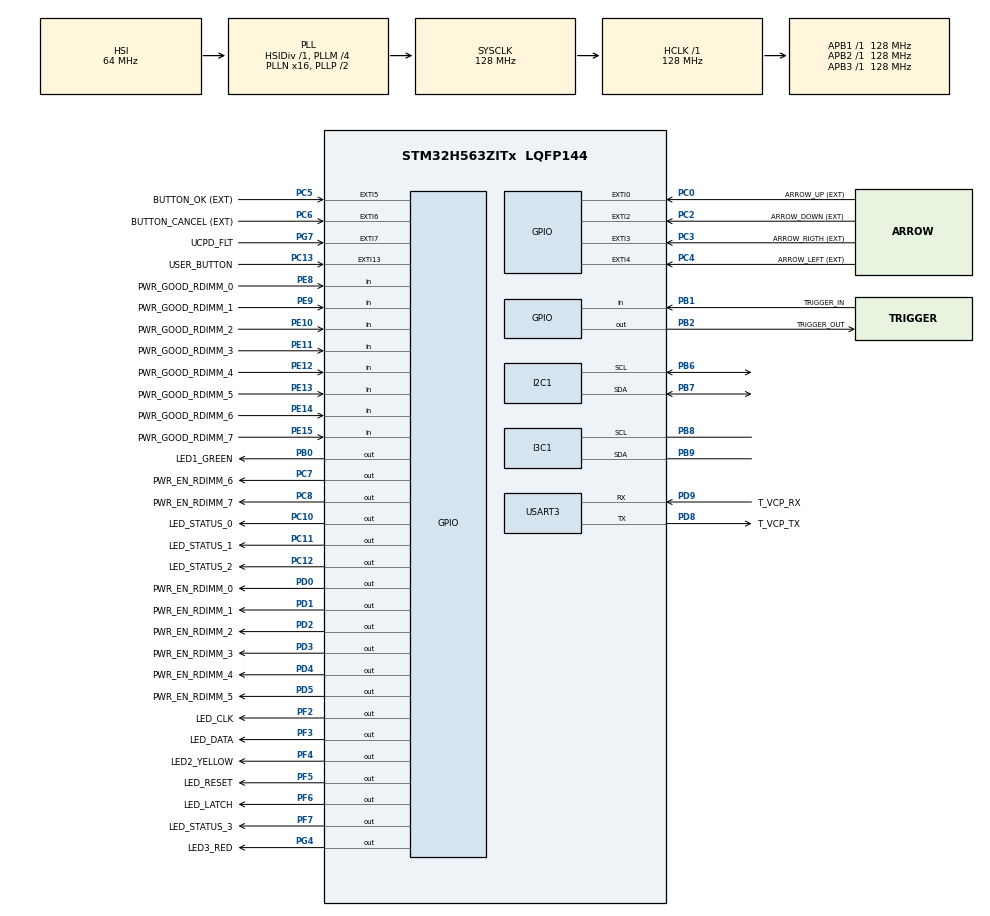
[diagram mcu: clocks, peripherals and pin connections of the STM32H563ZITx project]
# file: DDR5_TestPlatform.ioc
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CORTEX_M33_NS.userName=CORTEX_M33
I2C1.Timing=0x10707DBC
I3C1.BusFreeDuration=1669
I3C1.BusUsage=MixedUsage
I3C1.DutyCycleI2C=50
I3C1.DutyCycleI3C=2
I3C1.FrequencyI2C=400
I3C1.FrequencyI3C=1000
I3C1.HighKeeperSDA=ENABLE
I3C1.Register0=0x5f67024c
I3C1.Register1=0x0042004e
I3C1.SCLI2CHighDuration=0x5f
I3C1.SCLI3CHighDuration=0x02
I3C1.SCLODLowDuration=0x67
I3C1.SCLPPLowDuration=0x4c
I3C1.SDAHoldTime=HAL_I3C_SDA_HOLD_TIME_0_5
I3C1.hexBusFreeDuration=0x42
I3C1.hexBusIdleDuration=0x4e
Mcu.Family=STM32H5
Mcu.Name=STM32H563ZITx
Mcu.Package=LQFP144
NVIC.PriorityGroup=NVIC_PRIORITYGROUP_4
PA11.GPIO_Label=USB_FS_N
PA11.Signal=USB_DM
PA12.GPIO_Label=USB_FS_P
PA12.Signal=USB_DP
PA13(JTMS/SWDIO).GPIO_Label=SWDIO
PA13(JTMS/SWDIO).Mode=Trace_Synchro_4bits_JTAG
PA13(JTMS/SWDIO).Signal=DEBUG_JTMS-SWDIO
PA14(JTCK/SWCLK).GPIO_Label=SWCLK
PA14(JTCK/SWCLK).Mode=Trace_Synchro_4bits_JTAG
PA14(JTCK/SWCLK).Signal=DEBUG_JTCK-SWCLK
PA15(JTDI).GPIO_Label=T_JTDI
PA15(JTDI).Mode=Trace_Synchro_4bits_JTAG
PA15(JTDI).Signal=DEBUG_JTDI
PA4.GPIO_Label=VBUS_SENSE
PA4.Signal=ADCx_INP18
PA9.GPIO_Label=UCPD_DBn
PA9.Signal=UCPD1_DB1
PB0.GPIO_Label=LED1_GREEN
PB0.Signal=GPIO_Output
PB1.GPIO_Label=TRIGGER_IN
PB1.Signal=GPIO_Input
PB13.GPIO_Label=UCPD_CC1
PB13.Signal=UCPD1_CC1
PB14.GPIO_Label=UCPD_CC2
PB14.Signal=UCPD1_CC2
PB2.GPIO_Label=TRIGGER_OUT
PB2.Signal=GPIO_Output
PB3(JTDO/TRACESWO).GPIO_Label=SWO
PB3(JTDO/TRACESWO).Mode=Trace_Synchro_4bits_JTAG
PB3(JTDO/TRACESWO).Signal=DEBUG_JTDO-SWO
PB6.Mode=I2C
PB6.Signal=I2C1_SCL
PB7.Mode=I2C
PB7.Signal=I2C1_SDA
PB8.Mode=Controller
PB8.Signal=I3C1_SCL
PB9.Mode=Controller
PB9.Signal=I3C1_SDA
PC0.GPIO_Label=ARROW_UP (EXT)
PC0.Signal=GPXTI0
PC10.GPIO_Label=LED_STATUS_0
PC10.Signal=GPIO_Output
PC11.GPIO_Label=LED_STATUS_1
PC11.Signal=GPIO_Output
PC12.GPIO_Label=LED_STATUS_2
PC12.Signal=GPIO_Output
PC13.GPIO_Label=USER_BUTTON
PC13.Signal=GPXTI13
PC14-OSC32_IN(OSC32_IN).Mode=LSE-External-Oscillator
PC14-OSC32_IN(OSC32_IN).Signal=RCC_OSC32_IN
PC15-OSC32_OUT(OSC32_OUT).Mode=LSE-External-Oscillator
PC15-OSC32_OUT(OSC32_OUT).Signal=RCC_OSC32_OUT
PC2.GPIO_Label=ARROW_DOWN (EXT)
PC2.Signal=GPXTI2
PC3.GPIO_Label=ARROW_RIGTH (EXT)
PC3.Signal=GPXTI3
PC4.GPIO_Label=ARROW_LEFT (EXT)
PC4.Signal=GPXTI4
PC5.GPIO_Label=BUTTON_OK (EXT)
PC5.Signal=GPXTI5
PC6.GPIO_Label=BUTTON_CANCEL (EXT)
PC6.Signal=GPXTI6
PC7.GPIO_Label=PWR_EN_RDIMM_6
PC7.Signal=GPIO_Output
PC8.GPIO_Label=PWR_EN_RDIMM_7
PC8.Signal=GPIO_Output
PD0.GPIO_Label=PWR_EN_RDIMM_0
PD0.Signal=GPIO_Output
PD1.GPIO_Label=PWR_EN_RDIMM_1
PD1.Signal=GPIO_Output
PD2.GPIO_Label=PWR_EN_RDIMM_2
PD2.Signal=GPIO_Output
PD3.GPIO_Label=PWR_EN_RDIMM_3
PD3.Signal=GPIO_Output
PD4.GPIO_Label=PWR_EN_RDIMM_4
PD4.Signal=GPIO_Output
PD5.GPIO_Label=PWR_EN_RDIMM_5
PD5.Signal=GPIO_Output
PD8.GPIO_Label=T_VCP_TX
PD8.Mode=Asynchronous
PD8.Signal=USART3_TX
PD9.GPIO_Label=T_VCP_RX
PD9.Mode=Asynchronous
PD9.Signal=USART3_RX
PE10.GPIO_Label=PWR_GOOD_RDIMM_2
PE10.Signal=GPIO_Input
PE11.GPIO_Label=PWR_GOOD_RDIMM_3
PE11.Signal=GPIO_Input
PE12.GPIO_Label=PWR_GOOD_RDIMM_4
PE12.Signal=GPIO_Input
PE13.GPIO_Label=PWR_GOOD_RDIMM_5
PE13.Signal=GPIO_Input
PE14.GPIO_Label=PWR_GOOD_RDIMM_6
PE14.Signal=GPIO_Input
PE15.GPIO_Label=PWR_GOOD_RDIMM_7
PE15.Signal=GPIO_Input
PE2.GPIO_Label=TRACE_CK
PE2.Mode=Trace_Synchro_4bits_JTAG
PE2.Signal=DEBUG_TRACECLK
PE3.GPIO_Label=TRACE_D0
PE3.Mode=Trace_Synchro_4bits_JTAG
PE3.Signal=DEBUG_TRACED0
PE4.GPIO_Label=TRACE_D1
PE4.Mode=Trace_Synchro_4bits_JTAG
PE4.Signal=DEBUG_TRACED1
PE5.GPIO_Label=TRACE_D2
PE5.Mode=Trace_Synchro_4bits_JTAG
PE5.Signal=DEBUG_TRACED2
PE6.GPIO_Label=TRACE_D3
PE6.Mode=Trace_Synchro_4bits_JTAG
PE6.Signal=DEBUG_TRACED3
PE8.GPIO_Label=PWR_GOOD_RDIMM_0
PE8.Signal=GPIO_Input
PE9.GPIO_Label=PWR_GOOD_RDIMM_1
PE9.Signal=GPIO_Input
PF2.GPIO_Label=LED_CLK
PF2.Signal=GPIO_Output
PF3.GPIO_Label=LED_DATA
PF3.Signal=GPIO_Output
PF4.GPIO_Label=LED2_YELLOW
PF4.Signal=GPIO_Output
PF5.GPIO_Label=LED_RESET
PF5.Signal=GPIO_Output
PF6.GPIO_Label=LED_LATCH
PF6.Signal=GPIO_Output
PF7.GPIO_Label=LED_STATUS_3
PF7.Signal=GPIO_Output
PG4.GPIO_Label=LED3_RED
PG4.Signal=GPIO_Output
PG7.GPIO_Label=UCPD_FLT
PG7.Signal=GPXTI7
PH0-OSC_IN(PH0).Mode=HSE-DIG-External-Clock-Source
PH0-OSC_IN(PH0).Signal=RCC_OSC_IN
ProjectManager.HeapSize=0x200
ProjectManager.StackSize=0x400
ProjectManager.TargetToolchain=STM32CubeIDE
RCC.ADCFreq_Value=128000000
RCC.AHBFreq_Value=128000000
RCC.APB1Freq_Value=128000000
RCC.APB1TimFreq_Value=128000000
RCC.APB2Freq_Value=128000000
RCC.APB2TimFreq_Value=128000000
RCC.APB3Freq_Value=128000000
RCC.CSI_VALUE=4000000
RCC.CortexFreq_Value=128000000
RCC.EPOD_VALUE=64000000
RCC.HCLKFreq_Value=128000000
RCC.HSE_VALUE=8000000
RCC.HSI48_VALUE=48000000
RCC.HSIDiv=RCC_HSI_DIV1
RCC.HSI_VALUE=64000000
RCC.I2C1CLockSelection=RCC_I2C1CLKSOURCE_HSI
RCC.I3C1CLockSelection=RCC_I3C1CLKSOURCE_PLL3R
RCC.LSIRC_VALUE=32000
RCC.PLL3M=4
RCC.PLL3N=10
RCC.PLL3Source=RCC_PLL3_SOURCE_HSI
RCC.PLLM=4
RCC.PLLN=16
RCC.PLLSourceVirtual=RCC_PLL1_SOURCE_HSI
RCC.SYSCLKFreq_VALUE=128000000
RCC.SYSCLKSource=RCC_SYSCLKSOURCE_PLLCLK
RCC.USART3CLockSelection=RCC_USART3CLKSOURCE_HSI
RCC.USBFreq_Value=48000000
RCC.VCOOutputFreq_Value=256000000
SH.ADCx_INP18.0=ADC1_INP18
USART3.OverSampling=UART_OVERSAMPLING_8
USART3.RxPinLevelInvertParam=ADVFEATURE_RXINV_ENABLE
USART3.VirtualMode=VM_ASYNC
VP_ICACHE_VS_ICACHE.Mode=DefaultMode
VP_MEMORYMAP_VS_MEMORYMAP.Mode=CurAppReg
VP_PWR_VS_SECSignals.Mode=Security/Privilege
board=NUCLEO-H563ZI

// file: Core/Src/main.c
/* USER CODE BEGIN Header */
/**
  ******************************************************************************
  * @file           : main.c
  * @brief          : Main program body
  ******************************************************************************
  * @attention
  *
  * Copyright (c) 2026 STMicroelectronics.
  * All rights reserved.
  *
  * This software is licensed under terms that can be found in the LICENSE file
  * in the root directory of this software component.
  * If no LICENSE file comes with this software, it is provided AS-IS.
  *
  ******************************************************************************
  */
/* USER CODE END Header */
#include "main.h"

I2C_HandleTypeDef hi2c1;

I3C_HandleTypeDef hi3c1;

UART_HandleTypeDef huart3;

void SystemClock_Config(void);
static void MX_GPIO_Init(void);
static void MX_I2C1_Init(void);
static void MX_I3C1_Init(void);
static void MX_ICACHE_Init(void);
static void MX_USART3_UART_Init(void);
static void MX_MEMORYMAP_Init(void);
/* USER CODE BEGIN PFP */
static void I3C_DBG(uint32_t tag);
#define I3C_DBG_MAX 160

typedef struct
{
    uint32_t tag;
    uint32_t EVR;
    uint32_t SER;
    uint32_t SR;
    uint32_t CFGR;
    uint32_t CR;
    uint32_t RDR;
} I3C_DebugSnap;

volatile I3C_DebugSnap i3c_dbg[I3C_DBG_MAX];
volatile uint32_t i3c_dbg_i = 0;

void I3C_SETAASA(void)
{
	I3C_XferTypeDef I3C_Context;
	  uint32_t I3C_ControlBuffer[1];
	  uint8_t dummyTx[1];

	  I3C_CCCTypeDef SETAASA_Desc = {
	    0x00,
	    0x29,
	    {NULL, 0},
	    LL_I3C_DIRECTION_WRITE
	  };

	  I3C_Context.CtrlBuf.pBuffer = I3C_ControlBuffer;
	  I3C_Context.CtrlBuf.Size = 1;
	  I3C_Context.TxBuf.pBuffer = dummyTx;
	  I3C_Context.TxBuf.Size = 0;
	  I3C_Context.RxBuf.pBuffer = NULL;
	  I3C_Context.RxBuf.Size = 0;

	  if ( HAL_I3C_AddDescToFrame(&hi3c1,
	                         &SETAASA_Desc,
	                         NULL,
	                         &I3C_Context,
	                         1,
							 I3C_BROADCAST_WITHOUT_DEFBYTE_STOP)!= HAL_OK)
		  Error_Handler();

	  if ( HAL_I3C_Ctrl_TransmitCCC(&hi3c1, &I3C_Context, HAL_MAX_DELAY)!= HAL_OK )
	  {
		  volatile uint32_t err = hi3c1.ErrorCode;
		  volatile uint32_t ser = hi3c1.Instance->SER;
		  volatile uint32_t evr = hi3c1.Instance->EVR;
		  Error_Handler();
	  }

}
HAL_StatusTypeDef I3C_LL_SETAASA(void)
{
    uint32_t cr;
    uint32_t timeout;

    /* SETAASA:
       MTYPE = 0110 -> Broadcast CCC write
       CCC   = 0x29
       DCNT  = 0
       MEND  = 1
    */
    cr = (1UL << 31) |      /* MEND = 1 */
         (0x6UL << 27) |    /* MTYPE = 0110 */
         (0x29UL << 8) |    /* CCC = SETAASA */
         (0UL);             /* DCNT = 0 */

    /* Vaciar posible RX pendiente */
    while ((READ_REG(hi3c1.Instance->EVR) & I3C_EVR_RXFNEF) != 0U)
    {
        volatile uint32_t dummy = READ_REG(hi3c1.Instance->RDR);
        (void)dummy;
    }

    while ((READ_REG(hi3c1.Instance->EVR) & I3C_EVR_RXFNEF) != 0U)
    {
        volatile uint32_t d0 = READ_REG(hi3c1.Instance->RDR);
        volatile uint32_t d1 = READ_REG(hi3c1.Instance->RDWR);
        (void)d0;
        (void)d1;
    }

    /* Limpiar flags previos */
    if ((READ_REG(hi3c1.Instance->EVR) & I3C_EVR_ERRF) != 0U)
    {
        LL_I3C_ClearFlag_ERR(hi3c1.Instance);
    }

    if ((READ_REG(hi3c1.Instance->EVR) & I3C_EVR_FCF) != 0U)
    {
        LL_I3C_ClearFlag_FC(hi3c1.Instance);
    }

    /* Lanzar SETAASA */
    WRITE_REG(hi3c1.Instance->CR, cr);

    /* Esperar fin o error */
    timeout = 1000000U;

    while ((READ_REG(hi3c1.Instance->EVR) & I3C_EVR_FCF) == 0U)
    {
        if ((READ_REG(hi3c1.Instance->EVR) & I3C_EVR_ERRF) != 0U)
        {
            volatile uint32_t ser = READ_REG(hi3c1.Instance->SER);
            volatile uint32_t evr = READ_REG(hi3c1.Instance->EVR);
            (void)ser;
            (void)evr;

            LL_I3C_ClearFlag_ERR(hi3c1.Instance);
            return HAL_ERROR;
        }

        if (--timeout == 0U)
        {
            return HAL_TIMEOUT;
        }
    }

    LL_I3C_ClearFlag_FC(hi3c1.Instance);

    return HAL_OK;
}

void I3C_RSTDAA(void)
{
	I3C_XferTypeDef I3C_Context;
	  uint32_t I3C_ControlBuffer[1];
	  uint8_t dummyTx[1];

	  I3C_CCCTypeDef SETAASA_Desc = {
	    0x00,
	    0x06,
	    {NULL, 0},
	    LL_I3C_DIRECTION_WRITE
	  };

	  I3C_Context.CtrlBuf.pBuffer = I3C_ControlBuffer;
	  I3C_Context.CtrlBuf.Size = 1;
	  I3C_Context.TxBuf.pBuffer = dummyTx;
	  I3C_Context.TxBuf.Size = 0;
	  I3C_Context.RxBuf.pBuffer = NULL;
	  I3C_Context.RxBuf.Size = 0;

	  if ( HAL_I3C_AddDescToFrame(&hi3c1,
	                         &SETAASA_Desc,
	                         NULL,
	                         &I3C_Context,
	                         1,
							 I3C_BROADCAST_WITHOUT_DEFBYTE_STOP)!= HAL_OK)
		  Error_Handler();

	  if ( HAL_I3C_Ctrl_TransmitCCC(&hi3c1, &I3C_Context, HAL_MAX_DELAY)!= HAL_OK )
	  {
		  volatile uint32_t err = hi3c1.ErrorCode;
		  volatile uint32_t ser = hi3c1.Instance->SER;
		  volatile uint32_t evr = hi3c1.Instance->EVR;
		  Error_Handler();
	  }

}

HAL_StatusTypeDef I3C_LL_I2C_PrivateReadReg(uint8_t target,
                                            uint8_t reg,
                                            uint8_t *rx,
                                            uint16_t len)
{
    uint32_t cr_write;
    uint32_t cr_read;
    uint32_t timeout = 1000000;

    if ((rx == NULL) || (len == 0))
        return HAL_ERROR;

    /* MTYPE = 0100 -> legacy I2C message */
    cr_write =
        (0x4UL << 27) |              /* MTYPE legacy I2C */
        ((uint32_t)target << 17) |   /* ADD[6:0] */
        (0UL << 16) |                /* RNW = 0 write */
        (1UL);                       /* DCNT = 1 */

    cr_read =
        (1UL << 31) |                /* MEND = 1 */
        (0x4UL << 27) |              /* MTYPE legacy I2C */
        ((uint32_t)target << 17) |   /* ADD[6:0] */
        (1UL << 16) |                /* RNW = 1 read */
        ((uint32_t)len);             /* DCNT = len */

    /* Cargar byte de registro en TX-FIFO */
    WRITE_REG(hi3c1.Instance->TDR, reg);

    /* Primer mensaje: WRITE reg, MEND=0 */
    WRITE_REG(hi3c1.Instance->CR, cr_write);

    /* Esperar a que pida siguiente control word */
    while ((READ_REG(hi3c1.Instance->EVR) & I3C_EVR_CFNFF) == 0U)
    {
        if (--timeout == 0) return HAL_TIMEOUT;
    }

    /* Segundo mensaje: READ len bytes, MEND=1 */
    WRITE_REG(hi3c1.Instance->CR, cr_read);

    for (uint16_t i = 0; i < len; i++)
    {
        timeout = 1000000;
        while ((READ_REG(hi3c1.Instance->EVR) & I3C_EVR_RXFNEF) == 0U)
        {
            if (READ_REG(hi3c1.Instance->EVR) & I3C_EVR_ERRF)
                return HAL_ERROR;

            if (--timeout == 0) return HAL_TIMEOUT;
        }

        rx[i] = (uint8_t)READ_REG(hi3c1.Instance->RDR);
    }

    timeout = 1000000;
    while ((READ_REG(hi3c1.Instance->EVR) & I3C_EVR_FCF) == 0U)
    {
        if (READ_REG(hi3c1.Instance->EVR) & I3C_EVR_ERRF)
            return HAL_ERROR;

        if (--timeout == 0) return HAL_TIMEOUT;
    }

    LL_I3C_ClearFlag_FC(hi3c1.Instance);

    return HAL_OK;
}

HAL_StatusTypeDef I3C_LL_I2C_PrivateWriteReg(uint8_t target,
                                             uint8_t reg,
                                             const uint8_t *tx,
                                             uint16_t len)
{
    uint32_t cr_write;
    uint32_t timeout;

    if ((tx == NULL) && (len > 0))
        return HAL_ERROR;

    /* MTYPE = 0100 -> legacy I2C message
       RNW   = 0    -> write
       DCNT  = 1 + len -> registro + datos
       MEND  = 1    -> último mensaje
    */
    cr_write =
        (1UL << 31) |                 /* MEND = 1 */
        (0x4UL << 27) |               /* MTYPE legacy I2C */
        ((uint32_t)target << 17) |    /* ADD[6:0] */
        (0UL << 16) |                 /* RNW = 0 */
        ((uint32_t)(1U + len));       /* DCNT */

    /* Cargar primero el registro */
    WRITE_REG(hi3c1.Instance->TDR, reg);

    /* Cargar datos */
    for (uint16_t i = 0; i < len; i++)
    {
        WRITE_REG(hi3c1.Instance->TDR, tx[i]);
    }

    /* Lanzar transferencia */
    WRITE_REG(hi3c1.Instance->CR, cr_write);

    /* Esperar fin o error */
    timeout = 1000000;
    while ((READ_REG(hi3c1.Instance->EVR) & I3C_EVR_FCF) == 0U)
    {
        if (READ_REG(hi3c1.Instance->EVR) & I3C_EVR_ERRF)
        {
            LL_I3C_ClearFlag_ERR(hi3c1.Instance);
            return HAL_ERROR;
        }

        if (--timeout == 0U)
            return HAL_TIMEOUT;
    }

    LL_I3C_ClearFlag_FC(hi3c1.Instance);

    return HAL_OK;
}

HAL_StatusTypeDef I3C_LL_PrivateWriteReg(uint8_t target,
                                         uint8_t reg,
                                         const uint8_t *tx,
                                         uint16_t len)
{
    uint32_t cr_write;
    uint32_t timeout;

    if ((tx == NULL) && (len > 0U))
        return HAL_ERROR;

    /* Asegurar private sin 0x7E inicial */
    SET_BIT(hi3c1.Instance->CFGR, I3C_CFGR_NOARBH);

    /* Limpiar flags previos */
    if ((READ_REG(hi3c1.Instance->EVR) & I3C_EVR_ERRF) != 0U) //FLAG ERROR
        LL_I3C_ClearFlag_ERR(hi3c1.Instance);

    if ((READ_REG(hi3c1.Instance->EVR) & I3C_EVR_FCF) != 0U)	//FLAG TRAMA COMPLETADA
        LL_I3C_ClearFlag_FC(hi3c1.Instance);

    /* Vaciar RX pendiente */
    while ((READ_REG(hi3c1.Instance->EVR) & I3C_EVR_RXFNEF) != 0U) // Hay bytes por leer en la R-FIFO
    {
        volatile uint32_t dummy = READ_REG(hi3c1.Instance->RDR); //Leer para descartar todo.
        (void)dummy;
    }

    /*
      WRITE:
      MTYPE = 0010 I3C private
      RNW   = 0 escritura
      DCNT  = 1 + len  -> registro + datos
      MEND  = 1        -> STOP al final
    */
    cr_write =
        (1UL << 31) |                 /* MEND = 1 */
        (0x2UL << 27) |               /* MTYPE = private */
        ((uint32_t)target << 17) |    /* ADD[6:0] */
        (0UL << 16) |                 /* RNW = 0 */
        ((uint32_t)(1U + len));       /* DCNT */

    /* Cargar primero el registro TDR para cargar en la T-FIFO */
    WRITE_REG(hi3c1.Instance->TDR, reg);

    /* Cargar datos para cargar en la T-FIFO */
    for (uint16_t i = 0; i < len; i++)
    {
        WRITE_REG(hi3c1.Instance->TDR, tx[i]);
    }

    /* Lanzar transferencia */
    WRITE_REG(hi3c1.Instance->CR, cr_write);

    /* Esperar fin de frame */
    timeout = 1000000U;
    while ((READ_REG(hi3c1.Instance->EVR) & I3C_EVR_FCF) == 0U)
    {
        if ((READ_REG(hi3c1.Instance->EVR) & I3C_EVR_ERRF) != 0U) //Si hay Error
        {
            volatile uint32_t evr_err = READ_REG(hi3c1.Instance->EVR);
            volatile uint32_t ser_err = READ_REG(hi3c1.Instance->SER);
            volatile uint32_t sr_err  = READ_REG(hi3c1.Instance->SR);
            (void)evr_err;
            (void)ser_err;
            (void)sr_err;

            return HAL_ERROR;
        }

        if (--timeout == 0U)
        {
            return HAL_TIMEOUT;
        }
    }

    LL_I3C_ClearFlag_FC(hi3c1.Instance);

    return HAL_OK;
}

HAL_StatusTypeDef I3C_LL_SPD5_ReadReg(uint8_t target,
                                      uint16_t reg,
                                      uint8_t *rx,
                                      uint16_t len)
{
    uint32_t cr_write;
    uint32_t cr_read;
    uint32_t timeout;

    if ((rx == NULL) || (len == 0U))
        return HAL_ERROR;

    /* Registro interno: MemReg = 0 */
    uint8_t cmd      = 0xA0;  // 1010 HID W, HID=0, W=0
    uint8_t addr_lsb = (uint8_t)(reg & 0x3F);
    uint8_t addr_msb = (uint8_t)((reg >> 6) & 0x0F);

    /* WRITE: CMD + addr_lsb + addr_msb */
    cr_write =
        (0x2UL << 27) |              /* MTYPE = I3C private */
        ((uint32_t)target << 17) |   /* ADD[6:0] */
        (0UL << 16) |                /* RNW = 0 */
        (3UL);                       /* DCNT = 3 */

    /* READ */
    cr_read =
        (1UL << 31) |                /* MEND = 1 */
        (0x2UL << 27) |              /* MTYPE = I3C private */
        ((uint32_t)target << 17) |   /* ADD[6:0] */
        (1UL << 16) |                /* RNW = 1 */
        ((uint32_t)len);             /* DCNT = len */

    /* limpiar flags previos */
    if (READ_REG(hi3c1.Instance->EVR) & I3C_EVR_ERRF)
        LL_I3C_ClearFlag_ERR(hi3c1.Instance);

    if (READ_REG(hi3c1.Instance->EVR) & I3C_EVR_FCF)
        LL_I3C_ClearFlag_FC(hi3c1.Instance);

    while (READ_REG(hi3c1.Instance->EVR) & I3C_EVR_RXFNEF)
    {
        volatile uint32_t dummy = READ_REG(hi3c1.Instance->RDR);
        (void)dummy;
    }

    /* cargar payload de comando */
    WRITE_REG(hi3c1.Instance->TDR, cmd);
    I3C_DBG_Snapshot(); // A: TX cargado

    WRITE_REG(hi3c1.Instance->TDR, addr_lsb);
    WRITE_REG(hi3c1.Instance->TDR, addr_msb);

    /* WRITE + repeated START */
    WRITE_REG(hi3c1.Instance->CR, cr_write);

    timeout = 1000000U;
    while ((READ_REG(hi3c1.Instance->EVR) & I3C_EVR_CFNFF) == 0U)
    {
        if (READ_REG(hi3c1.Instance->EVR) & I3C_EVR_ERRF)
            return HAL_ERROR;

        if (--timeout == 0U)
            return HAL_TIMEOUT;
    }

    /* READ + STOP */
    WRITE_REG(hi3c1.Instance->CR, cr_read);

    for (uint16_t i = 0; i < len; i++)
    {
        timeout = 1000000U;
        while ((READ_REG(hi3c1.Instance->EVR) & I3C_EVR_RXFNEF) == 0U)
        {
            if (READ_REG(hi3c1.Instance->EVR) & I3C_EVR_ERRF)
                return HAL_ERROR;

            if (--timeout == 0U)
                return HAL_TIMEOUT;
        }

        rx[i] = (uint8_t)READ_REG(hi3c1.Instance->RDR);
    }

    timeout = 1000000U;
    while ((READ_REG(hi3c1.Instance->EVR) & I3C_EVR_FCF) == 0U)
    {
        if (READ_REG(hi3c1.Instance->EVR) & I3C_EVR_ERRF)
            return HAL_ERROR;

        if (--timeout == 0U)
            return HAL_TIMEOUT;
    }

    LL_I3C_ClearFlag_FC(hi3c1.Instance);

    return HAL_OK;
}

HAL_StatusTypeDef I3C_LL_PrivateReadReg_Debug(uint8_t target,
                                              uint8_t reg,
                                              uint8_t *rx,
                                              uint16_t len)
{
    uint32_t cr_write;
    uint32_t cr_read;
    uint32_t timeout;

    volatile uint32_t evr_err;
    volatile uint32_t ser_err;
    volatile uint32_t sr_err;

    I3C_DBG(100);   // entrada

    if ((rx == NULL) || (len == 0U))
    {
        I3C_DBG(900);
        return HAL_ERROR;
    }

    SET_BIT(hi3c1.Instance->CFGR, I3C_CFGR_NOARBH);
    I3C_DBG(101);   // NOARBH configurado

    if ((READ_REG(hi3c1.Instance->EVR) & I3C_EVR_ERRF) != 0U)
        LL_I3C_ClearFlag_ERR(hi3c1.Instance);

    if ((READ_REG(hi3c1.Instance->EVR) & I3C_EVR_FCF) != 0U)
        LL_I3C_ClearFlag_FC(hi3c1.Instance);

    while ((READ_REG(hi3c1.Instance->EVR) & I3C_EVR_RXFNEF) != 0U)
    {
        volatile uint32_t dummy = READ_REG(hi3c1.Instance->RDR);
        (void)dummy;
    }

    I3C_DBG(102);

    cr_write =
        (0x2UL << 27) |
        ((uint32_t)target << 17) |
        (0UL << 16) |
        (1UL);

    cr_read =
        (1UL << 31) |
        (0x2UL << 27) |
        ((uint32_t)target << 17) |
        (1UL << 16) |
        ((uint32_t)len);

    I3C_DBG(103);

    WRITE_REG(hi3c1.Instance->TDR, reg);
    I3C_DBG(104);

    WRITE_REG(hi3c1.Instance->CR, cr_write);
    I3C_DBG(105);

    timeout = 1000000U;
    while ((READ_REG(hi3c1.Instance->EVR) & I3C_EVR_CFNFF) == 0U)
    {
        if ((READ_REG(hi3c1.Instance->EVR) & I3C_EVR_ERRF) != 0U)
        {
            I3C_DBG(910);

            evr_err = READ_REG(hi3c1.Instance->EVR);
            ser_err = READ_REG(hi3c1.Instance->SER);
            sr_err  = READ_REG(hi3c1.Instance->SR);
            (void)evr_err; (void)ser_err; (void)sr_err;

            __NOP();
            return HAL_ERROR;
        }

        if (--timeout == 0U)
        {
            I3C_DBG(911);

            evr_err = READ_REG(hi3c1.Instance->EVR);
            ser_err = READ_REG(hi3c1.Instance->SER);
            sr_err  = READ_REG(hi3c1.Instance->SR);
            (void)evr_err; (void)ser_err; (void)sr_err;

            __NOP();
            return HAL_TIMEOUT;
        }
    }

    I3C_DBG(106);

    WRITE_REG(hi3c1.Instance->CR, cr_read);
    I3C_DBG(107);

    for (uint16_t i = 0; i < len; i++)
    {
        timeout = 1000000U;

        while ((READ_REG(hi3c1.Instance->EVR) & I3C_EVR_RXFNEF) == 0U)
        {
            if ((READ_REG(hi3c1.Instance->EVR) & I3C_EVR_ERRF) != 0U)
            {
                I3C_DBG(920);

                evr_err = READ_REG(hi3c1.Instance->EVR);
                ser_err = READ_REG(hi3c1.Instance->SER);
                sr_err  = READ_REG(hi3c1.Instance->SR);
                (void)evr_err; (void)ser_err; (void)sr_err;

                __NOP();
                return HAL_ERROR;
            }

            if (--timeout == 0U)
            {
                I3C_DBG(921);

                evr_err = READ_REG(hi3c1.Instance->EVR);
                ser_err = READ_REG(hi3c1.Instance->SER);
                sr_err  = READ_REG(hi3c1.Instance->SR);
                (void)evr_err; (void)ser_err; (void)sr_err;

                __NOP();
                return HAL_TIMEOUT;
            }
        }

        I3C_DBG(108);

        rx[i] = (uint8_t)READ_REG(hi3c1.Instance->RDR);

        I3C_DBG(109);
    }

    timeout = 1000000U;
    while ((READ_REG(hi3c1.Instance->EVR) & I3C_EVR_FCF) == 0U)
    {
        if ((READ_REG(hi3c1.Instance->EVR) & I3C_EVR_ERRF) != 0U)
        {
            I3C_DBG(930);

            evr_err = READ_REG(hi3c1.Instance->EVR);
            ser_err = READ_REG(hi3c1.Instance->SER);
            sr_err  = READ_REG(hi3c1.Instance->SR);
            (void)evr_err; (void)ser_err; (void)sr_err;

            __NOP();
            return HAL_ERROR;
        }

        if (--timeout == 0U)
        {
            I3C_DBG(931);

            evr_err = READ_REG(hi3c1.Instance->EVR);
            ser_err = READ_REG(hi3c1.Instance->SER);
            sr_err  = READ_REG(hi3c1.Instance->SR);
            (void)evr_err; (void)ser_err; (void)sr_err;

            __NOP();
            return HAL_TIMEOUT;
        }
    }

    I3C_DBG(110);

    LL_I3C_ClearFlag_FC(hi3c1.Instance);

    I3C_DBG(111);

    volatile uint32_t evr_final = hi3c1.Instance->EVR;
    volatile uint32_t ser_final = hi3c1.Instance->SER;
    volatile uint32_t sr_final  = hi3c1.Instance->SR;
    volatile uint8_t  rx_final  = rx[0];

    __NOP();   // breakpoint aquí

    return HAL_OK;
}

HAL_StatusTypeDef I3C_HAL_PrivateReadReg(uint8_t target,
                                         uint8_t reg,
                                         uint8_t *rx,
                                         uint16_t len)
{
    I3C_XferTypeDef xfer = {0};
    I3C_PrivateTypeDef desc[2] = {0};

    uint32_t ctrl[2];
    uint8_t txGlobal[1];

    if ((rx == NULL) || (len == 0U))
        return HAL_ERROR;

    /* Mensaje 1: WRITE registro */
    desc[0].TargetAddr    = target;
    desc[0].Direction     = HAL_I3C_DIRECTION_WRITE;
    desc[0].TxBuf.pBuffer = &reg;
    desc[0].TxBuf.Size    = 1;

    /* Mensaje 2: READ datos */
    desc[1].TargetAddr    = target;
    desc[1].Direction     = HAL_I3C_DIRECTION_READ;
    desc[1].RxBuf.pBuffer = rx;
    desc[1].RxBuf.Size    = len;

    xfer.CtrlBuf.pBuffer = ctrl;
    xfer.CtrlBuf.Size    = 2;

    xfer.TxBuf.pBuffer   = txGlobal;
    xfer.TxBuf.Size      = 1;

    xfer.RxBuf.pBuffer   = rx;
    xfer.RxBuf.Size      = len;

    SET_BIT(hi3c1.Instance->CFGR, I3C_CFGR_NOARBH);

    if (HAL_I3C_AddDescToFrame(&hi3c1,
                               NULL,
                               desc,
                               &xfer,
                               2,
                               I3C_PRIVATE_WITHOUT_ARB_RESTART) != HAL_OK)
    {
        return HAL_ERROR;
    }

    if (HAL_I3C_Ctrl_Receive(&hi3c1, &xfer, HAL_MAX_DELAY) != HAL_OK)
    {
        return HAL_ERROR;
    }

    return HAL_OK;
}

HAL_StatusTypeDef I3C_LL_PrivateReadReg(uint8_t target,
                                        uint8_t reg,
                                        uint8_t *rx,
                                        uint16_t len)
{
    uint32_t cr_write;
    uint32_t cr_read;
    uint32_t timeout;
    uint16_t idx = 0;

    volatile uint32_t evr_err;
    volatile uint32_t ser_err;
    volatile uint32_t sr_err;

    if ((rx == NULL) || (len == 0U))
        return HAL_ERROR;

    SET_BIT(hi3c1.Instance->CFGR, I3C_CFGR_NOARBH);

    if ((READ_REG(hi3c1.Instance->EVR) & I3C_EVR_ERRF) != 0U)
        LL_I3C_ClearFlag_ERR(hi3c1.Instance);

    if ((READ_REG(hi3c1.Instance->EVR) & I3C_EVR_FCF) != 0U)
        LL_I3C_ClearFlag_FC(hi3c1.Instance);

    while ((READ_REG(hi3c1.Instance->EVR) & I3C_EVR_RXFNEF) != 0U)
    {
        volatile uint32_t dummy = READ_REG(hi3c1.Instance->RDR);
        (void)dummy;
    }

    /*
      WRITE PHASE:
      reg + dummy byte
    */
    cr_write =

        (0x2UL << 27) |              /* MTYPE = private */
        ((uint32_t)target << 17) |   /* ADD[6:0] */
        (0UL << 16) |                /* RNW = 0 */
        (2UL);                       /* DCNT = 2 */

    /*
      READ PHASE
    */
    cr_read =
        (1UL << 31) |                /* MEND = 1 */
        (0x2UL << 27) |              /* MTYPE = private */
        ((uint32_t)target << 17) |   /* ADD[6:0] */
        (1UL << 16) |                /* RNW = 1 */
        ((uint32_t)len);             /* DCNT = len */

    /*
      TX FIFO:
      [reg][dummy]
    */
    WRITE_REG(hi3c1.Instance->TDR, reg);
    WRITE_REG(hi3c1.Instance->TDR, 0x00);

    /*
      START WRITE
    */
    WRITE_REG(hi3c1.Instance->CR, cr_write);

    /*
      Esperar espacio en C-FIFO
    */
    timeout = 1000000U;

    while ((READ_REG(hi3c1.Instance->EVR) & I3C_EVR_CFNFF) == 0U)
    {
        if ((READ_REG(hi3c1.Instance->EVR) & I3C_EVR_ERRF) != 0U)
        {
            evr_err = READ_REG(hi3c1.Instance->EVR);
            ser_err = READ_REG(hi3c1.Instance->SER);
            sr_err  = READ_REG(hi3c1.Instance->SR);

            (void)evr_err;
            (void)ser_err;
            (void)sr_err;

            return HAL_ERROR;
        }

        if (--timeout == 0U)
            return HAL_TIMEOUT;
    }

    /*
      REPEATED START + READ
    */
    WRITE_REG(hi3c1.Instance->CR, cr_read);

    /*
      RX LOOP
    */
    while (idx < len)
    {
        timeout = 1000000U;

        while ((READ_REG(hi3c1.Instance->EVR) & I3C_EVR_RXFNEF) == 0U)
        {
            if ((READ_REG(hi3c1.Instance->EVR) & I3C_EVR_ERRF) != 0U)
            {
                evr_err = READ_REG(hi3c1.Instance->EVR);
                ser_err = READ_REG(hi3c1.Instance->SER);
                sr_err  = READ_REG(hi3c1.Instance->SR);

                (void)evr_err;
                (void)ser_err;
                (void)sr_err;

                return HAL_ERROR;
            }

            if (--timeout == 0U)
                return HAL_TIMEOUT;
        }

        /*
          Vaciar RX FIFO
        */
        while (((READ_REG(hi3c1.Instance->EVR) & I3C_EVR_RXFNEF) != 0U) &&
               (idx < len))
        {
            rx[idx++] = (uint8_t)READ_REG(hi3c1.Instance->RDR);
        }
    }

    /*
      Esperar fin de frame
    */
    timeout = 1000000U;

    while ((READ_REG(hi3c1.Instance->EVR) & I3C_EVR_FCF) == 0U)
    {
        if ((READ_REG(hi3c1.Instance->EVR) & I3C_EVR_ERRF) != 0U)
        {
            evr_err = READ_REG(hi3c1.Instance->EVR);
            ser_err = READ_REG(hi3c1.Instance->SER);
            sr_err  = READ_REG(hi3c1.Instance->SR);

            (void)evr_err;
            (void)ser_err;
            (void)sr_err;

            return HAL_ERROR;
        }

        if (--timeout == 0U)
            return HAL_TIMEOUT;
    }

    LL_I3C_ClearFlag_FC(hi3c1.Instance);

    return HAL_OK;
}

static void I3C_DBG(uint32_t tag)
{
    if (i3c_dbg_i < I3C_DBG_MAX)
    {
        i3c_dbg[i3c_dbg_i].tag  = tag;
        i3c_dbg[i3c_dbg_i].EVR  = hi3c1.Instance->EVR;
        i3c_dbg[i3c_dbg_i].SER  = hi3c1.Instance->SER;
        i3c_dbg[i3c_dbg_i].SR   = hi3c1.Instance->SR;
        i3c_dbg[i3c_dbg_i].CFGR = hi3c1.Instance->CFGR;
        i3c_dbg[i3c_dbg_i].CR   = hi3c1.Instance->CR;
        i3c_dbg[i3c_dbg_i].RDR  = hi3c1.Instance->RDR;
        i3c_dbg_i++;
    }
}

HAL_StatusTypeDef I3C_LL_PrivateWriteAddrOnly(uint8_t target, uint8_t reg)
{
    uint32_t cr_write;
    uint32_t timeout;

    SET_BIT(hi3c1.Instance->CFGR, I3C_CFGR_NOARBH);

    if ((READ_REG(hi3c1.Instance->EVR) & I3C_EVR_ERRF) != 0U)
        LL_I3C_ClearFlag_ERR(hi3c1.Instance);

    if ((READ_REG(hi3c1.Instance->EVR) & I3C_EVR_FCF) != 0U)
        LL_I3C_ClearFlag_FC(hi3c1.Instance);

    while ((READ_REG(hi3c1.Instance->EVR) & I3C_EVR_RXFNEF) != 0U)
    {
        volatile uint32_t dummy = READ_REG(hi3c1.Instance->RDR);
        (void)dummy;
    }

    /*
      WRITE:
      S target(W) reg 0x00 P
      MEND = 1 -> STOP
      DCNT = 2 -> reg + dummy
    */
    cr_write =
        (1UL << 31) |                /* MEND = 1 */
        (0x2UL << 27) |              /* MTYPE = private */
        ((uint32_t)target << 17) |   /* ADD[6:0] */
        (0UL << 16) |                /* RNW = 0 */
        (2UL);                       /* DCNT = 2 */

    WRITE_REG(hi3c1.Instance->TDR, reg);
    WRITE_REG(hi3c1.Instance->TDR, 0x00);

    WRITE_REG(hi3c1.Instance->CR, cr_write);

    timeout = 1000000U;
    while ((READ_REG(hi3c1.Instance->EVR) & I3C_EVR_FCF) == 0U)
    {
        if ((READ_REG(hi3c1.Instance->EVR) & I3C_EVR_ERRF) != 0U)
        {
            volatile uint32_t evr_err = READ_REG(hi3c1.Instance->EVR);
            volatile uint32_t ser_err = READ_REG(hi3c1.Instance->SER);
            volatile uint32_t sr_err  = READ_REG(hi3c1.Instance->SR);
            (void)evr_err;
            (void)ser_err;
            (void)sr_err;
            return HAL_ERROR;
        }

        if (--timeout == 0U)
            return HAL_TIMEOUT;
    }

    LL_I3C_ClearFlag_FC(hi3c1.Instance);

    return HAL_OK;
}

HAL_StatusTypeDef I3C_LL_PrivateReadOnly(uint8_t target,
                                         uint8_t *rx,
                                         uint16_t len)
{
    uint32_t cr_read;
    uint32_t timeout;
    uint16_t idx = 0;

    if ((rx == NULL) || (len == 0U))
        return HAL_ERROR;

    SET_BIT(hi3c1.Instance->CFGR, I3C_CFGR_NOARBH);

    if ((READ_REG(hi3c1.Instance->EVR) & I3C_EVR_ERRF) != 0U)
        LL_I3C_ClearFlag_ERR(hi3c1.Instance);

    if ((READ_REG(hi3c1.Instance->EVR) & I3C_EVR_FCF) != 0U)
        LL_I3C_ClearFlag_FC(hi3c1.Instance);

    while ((READ_REG(hi3c1.Instance->EVR) & I3C_EVR_RXFNEF) != 0U)
    {
        volatile uint32_t dummy = READ_REG(hi3c1.Instance->RDR);
        (void)dummy;
    }

    /*
      READ:
      S target(R) data... P
    */
    cr_read =
        (1UL << 31) |                /* MEND = 1 */
        (0x2UL << 27) |              /* MTYPE = private */
        ((uint32_t)target << 17) |   /* ADD[6:0] */
        (1UL << 16) |                /* RNW = 1 */
        ((uint32_t)len);             /* DCNT = len */

    WRITE_REG(hi3c1.Instance->CR, cr_read);

    while (idx < len)
    {
        timeout = 1000000U;

        while ((READ_REG(hi3c1.Instance->EVR) & I3C_EVR_RXFNEF) == 0U)
        {
            if ((READ_REG(hi3c1.Instance->EVR) & I3C_EVR_ERRF) != 0U)
            {
                volatile uint32_t evr_err = READ_REG(hi3c1.Instance->EVR);
                volatile uint32_t ser_err = READ_REG(hi3c1.Instance->SER);
                volatile uint32_t sr_err  = READ_REG(hi3c1.Instance->SR);
                (void)evr_err;
                (void)ser_err;
                (void)sr_err;
                return HAL_ERROR;
            }

            if (--timeout == 0U)
                return HAL_TIMEOUT;
        }

        while (((READ_REG(hi3c1.Instance->EVR) & I3C_EVR_RXFNEF) != 0U) &&
               (idx < len))
        {
            rx[idx++] = (uint8_t)READ_REG(hi3c1.Instance->RDR);
        }
    }

    timeout = 1000000U;
    while ((READ_REG(hi3c1.Instance->EVR) & I3C_EVR_FCF) == 0U)
    {
        if ((READ_REG(hi3c1.Instance->EVR) & I3C_EVR_ERRF) != 0U)
        {
            volatile uint32_t evr_err = READ_REG(hi3c1.Instance->EVR);
            volatile uint32_t ser_err = READ_REG(hi3c1.Instance->SER);
            volatile uint32_t sr_err  = READ_REG(hi3c1.Instance->SR);
            (void)evr_err;
            (void)ser_err;
            (void)sr_err;
            return HAL_ERROR;
        }

        if (--timeout == 0U)
            return HAL_TIMEOUT;
    }

    LL_I3C_ClearFlag_FC(hi3c1.Instance);

    return HAL_OK;
}
/* USER CODE END PFP */

int main(void)
{

  /* MCU Configuration--------------------------------------------------------*/

  /* Reset of all peripherals, Initializes the Flash interface and the Systick. */
  HAL_Init();

  /* Configure the system clock */
  SystemClock_Config();

  /* Initialize all configured peripherals */
  MX_GPIO_Init();
  MX_I2C1_Init();
  MX_I3C1_Init();
  MX_ICACHE_Init();
  MX_USART3_UART_Init();
  MX_MEMORYMAP_Init();
  /* USER CODE BEGIN 2 */

  uint8_t value[10] = {0};

  i3c_dbg_i = 0;

  /* ------------------------------------------------ */
  /* I2C legacy read antes de SETAASA                 */
  /* ------------------------------------------------ */

  if (I3C_LL_I2C_PrivateReadReg(0x50, 0x00, value, 1) != HAL_OK)
  {

      Error_Handler();
  }

  /* ------------------------------------------------ */
  /* SETAASA -> entrar en I3C Basic                   */
  /* ------------------------------------------------ */

  I3C_SETAASA();
  HAL_Delay(10);

  uint8_t rx[8] = {0};

  if (I3C_LL_PrivateReadReg(0x50, 0x12, value, 1) != HAL_OK)
    {
        Error_Handler();
    }

  __NOP();
  /* USER CODE END 2 */

  /* Infinite loop */
  while (1)
  {

  }
}

void SystemClock_Config(void)
{
  RCC_OscInitTypeDef RCC_OscInitStruct = {0};
  RCC_ClkInitTypeDef RCC_ClkInitStruct = {0};

  /** Configure the main internal regulator output voltage
  */
  __HAL_PWR_VOLTAGESCALING_CONFIG(PWR_REGULATOR_VOLTAGE_SCALE2);

  while(!__HAL_PWR_GET_FLAG(PWR_FLAG_VOSRDY)) {}

  /** Initializes the RCC Oscillators according to the specified parameters
  * in the RCC_OscInitTypeDef structure.
  */
  RCC_OscInitStruct.OscillatorType = RCC_OSCILLATORTYPE_HSI;
  RCC_OscInitStruct.HSIState = RCC_HSI_ON;
  RCC_OscInitStruct.HSIDiv = RCC_HSI_DIV1;
  RCC_OscInitStruct.HSICalibrationValue = RCC_HSICALIBRATION_DEFAULT;
  RCC_OscInitStruct.PLL.PLLState = RCC_PLL_ON;
  RCC_OscInitStruct.PLL.PLLSource = RCC_PLL1_SOURCE_HSI;
  RCC_OscInitStruct.PLL.PLLM = 4;
  RCC_OscInitStruct.PLL.PLLN = 16;
  RCC_OscInitStruct.PLL.PLLP = 2;
  RCC_OscInitStruct.PLL.PLLQ = 2;
  RCC_OscInitStruct.PLL.PLLR = 2;
  RCC_OscInitStruct.PLL.PLLRGE = RCC_PLL1_VCIRANGE_3;
  RCC_OscInitStruct.PLL.PLLVCOSEL = RCC_PLL1_VCORANGE_WIDE;
  RCC_OscInitStruct.PLL.PLLFRACN = 0;
  if (HAL_RCC_OscConfig(&RCC_OscInitStruct) != HAL_OK)
  {
    Error_Handler();
  }

  /** Initializes the CPU, AHB and APB buses clocks
  */
  RCC_ClkInitStruct.ClockType = RCC_CLOCKTYPE_HCLK|RCC_CLOCKTYPE_SYSCLK
                              |RCC_CLOCKTYPE_PCLK1|RCC_CLOCKTYPE_PCLK2
                              |RCC_CLOCKTYPE_PCLK3;
  RCC_ClkInitStruct.SYSCLKSource = RCC_SYSCLKSOURCE_PLLCLK;
  RCC_ClkInitStruct.AHBCLKDivider = RCC_SYSCLK_DIV1;
  RCC_ClkInitStruct.APB1CLKDivider = RCC_HCLK_DIV1;
  RCC_ClkInitStruct.APB2CLKDivider = RCC_HCLK_DIV1;
  RCC_ClkInitStruct.APB3CLKDivider = RCC_HCLK_DIV1;

  if (HAL_RCC_ClockConfig(&RCC_ClkInitStruct, FLASH_LATENCY_4) != HAL_OK)
  {
    Error_Handler();
  }
}

static void MX_I2C1_Init(void)
{

  hi2c1.Instance = I2C1;
  hi2c1.Init.Timing = 0x10707DBC;
  hi2c1.Init.OwnAddress1 = 0;
  hi2c1.Init.AddressingMode = I2C_ADDRESSINGMODE_7BIT;
  hi2c1.Init.DualAddressMode = I2C_DUALADDRESS_DISABLE;
  hi2c1.Init.OwnAddress2 = 0;
  hi2c1.Init.OwnAddress2Masks = I2C_OA2_NOMASK;
  hi2c1.Init.GeneralCallMode = I2C_GENERALCALL_DISABLE;
  hi2c1.Init.NoStretchMode = I2C_NOSTRETCH_DISABLE;
  if (HAL_I2C_Init(&hi2c1) != HAL_OK)
  {
    Error_Handler();
  }

  /** Configure Analogue filter
  */
  if (HAL_I2CEx_ConfigAnalogFilter(&hi2c1, I2C_ANALOGFILTER_ENABLE) != HAL_OK)
  {
    Error_Handler();
  }

  /** Configure Digital filter
  */
  if (HAL_I2CEx_ConfigDigitalFilter(&hi2c1, 0) != HAL_OK)
  {
    Error_Handler();
  }

}

static void MX_I3C1_Init(void)
{

  I3C_FifoConfTypeDef sFifoConfig = {0};
  I3C_CtrlConfTypeDef sCtrlConfig = {0};

  hi3c1.Instance = I3C1;
  hi3c1.Mode = HAL_I3C_MODE_CONTROLLER;
  hi3c1.Init.CtrlBusCharacteristic.SDAHoldTime = HAL_I3C_SDA_HOLD_TIME_0_5;
  hi3c1.Init.CtrlBusCharacteristic.WaitTime = HAL_I3C_OWN_ACTIVITY_STATE_0;
  //hi3c1.Init.CtrlBusCharacteristic.SCLPPLowDuration = 0x4c;
  //hi3c1.Init.CtrlBusCharacteristic.SCLI3CHighDuration = 0x02;
  //hi3c1.Init.CtrlBusCharacteristic.SCLODLowDuration = 0x67;
  //hi3c1.Init.CtrlBusCharacteristic.SCLI2CHighDuration = 0x5f;
  hi3c1.Init.CtrlBusCharacteristic.BusFreeDuration = 0x42;
  hi3c1.Init.CtrlBusCharacteristic.BusIdleDuration = 0x4e;

  //I2c & I3C 500Khz
  //hi3c1.Init.CtrlBusCharacteristic.SCLI3CHighDuration = 0x27;  // ~500 ns
  //hi3c1.Init.CtrlBusCharacteristic.SCLODLowDuration   = 0x67;  // ~1300 ns
  //hi3c1.Init.CtrlBusCharacteristic.SCLI2CHighDuration = 0x27;  // ~500 ns o más
  //hi3c1.Init.CtrlBusCharacteristic.SCLPPLowDuration   = 0x67;  // conservador

  hi3c1.Init.CtrlBusCharacteristic.SCLI3CHighDuration = 0x27;  // I3C high ~500 ns
  hi3c1.Init.CtrlBusCharacteristic.SCLODLowDuration   = 0x63;  // I2C low  ~1250 ns
  hi3c1.Init.CtrlBusCharacteristic.SCLI2CHighDuration = 0x63;  // I2C high ~1250 ns
  hi3c1.Init.CtrlBusCharacteristic.SCLPPLowDuration   = 0x27;  // I3C low  ~500 ns

  if (HAL_I3C_Init(&hi3c1) != HAL_OK)
  {
    Error_Handler();
  }

  /** Configure FIFO
  */
  sFifoConfig.RxFifoThreshold = HAL_I3C_RXFIFO_THRESHOLD_1_4;
  sFifoConfig.TxFifoThreshold = HAL_I3C_TXFIFO_THRESHOLD_1_4;
  sFifoConfig.ControlFifo = HAL_I3C_CONTROLFIFO_DISABLE;
  sFifoConfig.StatusFifo = HAL_I3C_STATUSFIFO_DISABLE;
  if (HAL_I3C_SetConfigFifo(&hi3c1, &sFifoConfig) != HAL_OK)
  {
    Error_Handler();
  }

  /** Configure controller
  */
  sCtrlConfig.DynamicAddr = 0;
  sCtrlConfig.StallTime = 0x00;
  sCtrlConfig.HotJoinAllowed = DISABLE;
  sCtrlConfig.ACKStallState = DISABLE;
  sCtrlConfig.CCCStallState = DISABLE;
  sCtrlConfig.TxStallState = DISABLE;
  sCtrlConfig.RxStallState = DISABLE;
  sCtrlConfig.HighKeeperSDA = ENABLE;
  if (HAL_I3C_Ctrl_Config(&hi3c1, &sCtrlConfig) != HAL_OK)
  {
    Error_Handler();
  }
  /* USER CODE BEGIN I3C1_Init 2 */
  SET_BIT(hi3c1.Instance->CFGR, I3C_CFGR_NOARBH);
  /* USER CODE END I3C1_Init 2 */

}

static void MX_ICACHE_Init(void)
{

  /** Enable instruction cache (default 2-ways set associative cache)
  */
  if (HAL_ICACHE_Enable() != HAL_OK)
  {
    Error_Handler();
  }

}

static void MX_MEMORYMAP_Init(void)
{

}

static void MX_USART3_UART_Init(void)
{

  huart3.Instance = USART3;
  huart3.Init.BaudRate = 115200;
  huart3.Init.WordLength = UART_WORDLENGTH_8B;
  huart3.Init.StopBits = UART_STOPBITS_1;
  huart3.Init.Parity = UART_PARITY_NONE;
  huart3.Init.Mode = UART_MODE_TX_RX;
  huart3.Init.HwFlowCtl = UART_HWCONTROL_NONE;
  huart3.Init.OverSampling = UART_OVERSAMPLING_8;
  huart3.Init.OneBitSampling = UART_ONE_BIT_SAMPLE_DISABLE;
  huart3.Init.ClockPrescaler = UART_PRESCALER_DIV1;
  huart3.AdvancedInit.AdvFeatureInit = UART_ADVFEATURE_RXINVERT_INIT;
  huart3.AdvancedInit.RxPinLevelInvert = UART_ADVFEATURE_RXINV_ENABLE;
  if (HAL_UART_Init(&huart3) != HAL_OK)
  {
    Error_Handler();
  }
  if (HAL_UARTEx_SetTxFifoThreshold(&huart3, UART_TXFIFO_THRESHOLD_1_8) != HAL_OK)
  {
    Error_Handler();
  }
  if (HAL_UARTEx_SetRxFifoThreshold(&huart3, UART_RXFIFO_THRESHOLD_1_8) != HAL_OK)
  {
    Error_Handler();
  }
  if (HAL_UARTEx_DisableFifoMode(&huart3) != HAL_OK)
  {
    Error_Handler();
  }

}

static void MX_GPIO_Init(void)
{
  GPIO_InitTypeDef GPIO_InitStruct = {0};

  /* GPIO Ports Clock Enable */
  __HAL_RCC_GPIOE_CLK_ENABLE();
  __HAL_RCC_GPIOC_CLK_ENABLE();
  __HAL_RCC_GPIOF_CLK_ENABLE();
  __HAL_RCC_GPIOH_CLK_ENABLE();
  __HAL_RCC_GPIOA_CLK_ENABLE();
  __HAL_RCC_GPIOB_CLK_ENABLE();
  __HAL_RCC_GPIOD_CLK_ENABLE();
  __HAL_RCC_GPIOG_CLK_ENABLE();

  /*Configure GPIO pin Output Level */
  HAL_GPIO_WritePin(GPIOF, LED_CLK_Pin|LED_DATA_Pin|LED2_YELLOW_Pin|LED_RESET_Pin
                          |LED_LATCH_Pin|LED_STATUS_3_Pin, GPIO_PIN_RESET);

  /*Configure GPIO pin Output Level */
  HAL_GPIO_WritePin(GPIOB, LED1_GREEN_Pin|TRIGGER_OUT_Pin, GPIO_PIN_RESET);

  /*Configure GPIO pin Output Level */
  HAL_GPIO_WritePin(LED3_RED_GPIO_Port, LED3_RED_Pin, GPIO_PIN_RESET);

  /*Configure GPIO pin Output Level */
  HAL_GPIO_WritePin(GPIOC, PWR_EN_RDIMM_6_Pin|PWR_EN_RDIMM_7_Pin|LED_STATUS_0_Pin|LED_STATUS_1_Pin
                          |LED_STATUS_2_Pin, GPIO_PIN_RESET);

  /*Configure GPIO pin Output Level */
  HAL_GPIO_WritePin(GPIOD, PWR_EN_RDIMM_0_Pin|PWR_EN_RDIMM_1_Pin|PWR_EN_RDIMM_2_Pin|PWR_EN_RDIMM_3_Pin
                          |PWR_EN_RDIMM_4_Pin|PWR_EN_RDIMM_5_Pin, GPIO_PIN_RESET);

  /*Configure GPIO pins : USER_BUTTON_Pin ARROW_UP_Pin ARROW_DOWN_Pin ARROW_RIGTH_Pin
                           ARROW_LEFT_Pin BUTTON_OK_Pin BUTTON_CANCEL_Pin */
  GPIO_InitStruct.Pin = USER_BUTTON_Pin|ARROW_UP_Pin|ARROW_DOWN_Pin|ARROW_RIGTH_Pin
                          |ARROW_LEFT_Pin|BUTTON_OK_Pin|BUTTON_CANCEL_Pin;
  GPIO_InitStruct.Mode = GPIO_MODE_IT_RISING;
  GPIO_InitStruct.Pull = GPIO_NOPULL;
  HAL_GPIO_Init(GPIOC, &GPIO_InitStruct);

  /*Configure GPIO pins : LED_CLK_Pin LED_DATA_Pin LED2_YELLOW_Pin LED_RESET_Pin
                           LED_LATCH_Pin LED_STATUS_3_Pin */
  GPIO_InitStruct.Pin = LED_CLK_Pin|LED_DATA_Pin|LED2_YELLOW_Pin|LED_RESET_Pin
                          |LED_LATCH_Pin|LED_STATUS_3_Pin;
  GPIO_InitStruct.Mode = GPIO_MODE_OUTPUT_PP;
  GPIO_InitStruct.Pull = GPIO_NOPULL;
  GPIO_InitStruct.Speed = GPIO_SPEED_FREQ_LOW;
  HAL_GPIO_Init(GPIOF, &GPIO_InitStruct);

  /*Configure GPIO pin : VBUS_SENSE_Pin */
  GPIO_InitStruct.Pin = VBUS_SENSE_Pin;
  GPIO_InitStruct.Mode = GPIO_MODE_ANALOG;
  GPIO_InitStruct.Pull = GPIO_NOPULL;
  HAL_GPIO_Init(VBUS_SENSE_GPIO_Port, &GPIO_InitStruct);

  /*Configure GPIO pins : LED1_GREEN_Pin TRIGGER_OUT_Pin */
  GPIO_InitStruct.Pin = LED1_GREEN_Pin|TRIGGER_OUT_Pin;
  GPIO_InitStruct.Mode = GPIO_MODE_OUTPUT_PP;
  GPIO_InitStruct.Pull = GPIO_NOPULL;
  GPIO_InitStruct.Speed = GPIO_SPEED_FREQ_LOW;
  HAL_GPIO_Init(GPIOB, &GPIO_InitStruct);

  /*Configure GPIO pin : TRIGGER_IN_Pin */
  GPIO_InitStruct.Pin = TRIGGER_IN_Pin;
  GPIO_InitStruct.Mode = GPIO_MODE_INPUT;
  GPIO_InitStruct.Pull = GPIO_NOPULL;
  HAL_GPIO_Init(TRIGGER_IN_GPIO_Port, &GPIO_InitStruct);

  /*Configure GPIO pins : PWR_GOOD_RDIMM_0_Pin PWR_GOOD_RDIMM_1_Pin PWR_GOOD_RDIMM_2_Pin PWR_GOOD_RDIMM_3_Pin
                           PWR_GOOD_RDIMM_4_Pin PWR_GOOD_RDIMM_5_Pin PWR_GOOD_RDIMM_6_Pin PWR_GOOD_RDIMM_7_Pin */
  GPIO_InitStruct.Pin = PWR_GOOD_RDIMM_0_Pin|PWR_GOOD_RDIMM_1_Pin|PWR_GOOD_RDIMM_2_Pin|PWR_GOOD_RDIMM_3_Pin
                          |PWR_GOOD_RDIMM_4_Pin|PWR_GOOD_RDIMM_5_Pin|PWR_GOOD_RDIMM_6_Pin|PWR_GOOD_RDIMM_7_Pin;
  GPIO_InitStruct.Mode = GPIO_MODE_INPUT;
  GPIO_InitStruct.Pull = GPIO_NOPULL;
  HAL_GPIO_Init(GPIOE, &GPIO_InitStruct);

  /*Configure GPIO pins : UCPD_CC1_Pin UCPD_CC2_Pin */
  GPIO_InitStruct.Pin = UCPD_CC1_Pin|UCPD_CC2_Pin;
  GPIO_InitStruct.Mode = GPIO_MODE_ANALOG;
  GPIO_InitStruct.Pull = GPIO_NOPULL;
  HAL_GPIO_Init(GPIOB, &GPIO_InitStruct);

  /*Configure GPIO pin : LED3_RED_Pin */
  GPIO_InitStruct.Pin = LED3_RED_Pin;
  GPIO_InitStruct.Mode = GPIO_MODE_OUTPUT_PP;
  GPIO_InitStruct.Pull = GPIO_NOPULL;
  GPIO_InitStruct.Speed = GPIO_SPEED_FREQ_LOW;
  HAL_GPIO_Init(LED3_RED_GPIO_Port, &GPIO_InitStruct);

  /*Configure GPIO pin : UCPD_FLT_Pin */
  GPIO_InitStruct.Pin = UCPD_FLT_Pin;
  GPIO_InitStruct.Mode = GPIO_MODE_IT_RISING;
  GPIO_InitStruct.Pull = GPIO_NOPULL;
  HAL_GPIO_Init(UCPD_FLT_GPIO_Port, &GPIO_InitStruct);

  /*Configure GPIO pins : PWR_EN_RDIMM_6_Pin PWR_EN_RDIMM_7_Pin LED_STATUS_0_Pin LED_STATUS_1_Pin
                           LED_STATUS_2_Pin */
  GPIO_InitStruct.Pin = PWR_EN_RDIMM_6_Pin|PWR_EN_RDIMM_7_Pin|LED_STATUS_0_Pin|LED_STATUS_1_Pin
                          |LED_STATUS_2_Pin;
  GPIO_InitStruct.Mode = GPIO_MODE_OUTPUT_PP;
  GPIO_InitStruct.Pull = GPIO_NOPULL;
  GPIO_InitStruct.Speed = GPIO_SPEED_FREQ_LOW;
  HAL_GPIO_Init(GPIOC, &GPIO_InitStruct);

  /*Configure GPIO pins : USB_FS_N_Pin USB_FS_P_Pin */
  GPIO_InitStruct.Pin = USB_FS_N_Pin|USB_FS_P_Pin;
  GPIO_InitStruct.Mode = GPIO_MODE_AF_PP;
  GPIO_InitStruct.Pull = GPIO_NOPULL;
  GPIO_InitStruct.Speed = GPIO_SPEED_FREQ_LOW;
  GPIO_InitStruct.Alternate = GPIO_AF10_USB;
  HAL_GPIO_Init(GPIOA, &GPIO_InitStruct);

  /*Configure GPIO pins : PWR_EN_RDIMM_0_Pin PWR_EN_RDIMM_1_Pin PWR_EN_RDIMM_2_Pin PWR_EN_RDIMM_3_Pin
                           PWR_EN_RDIMM_4_Pin PWR_EN_RDIMM_5_Pin */
  GPIO_InitStruct.Pin = PWR_EN_RDIMM_0_Pin|PWR_EN_RDIMM_1_Pin|PWR_EN_RDIMM_2_Pin|PWR_EN_RDIMM_3_Pin
                          |PWR_EN_RDIMM_4_Pin|PWR_EN_RDIMM_5_Pin;
  GPIO_InitStruct.Mode = GPIO_MODE_OUTPUT_PP;
  GPIO_InitStruct.Pull = GPIO_NOPULL;
  GPIO_InitStruct.Speed = GPIO_SPEED_FREQ_LOW;
  HAL_GPIO_Init(GPIOD, &GPIO_InitStruct);

}

void Error_Handler(void)
{
  __disable_irq();
  while (1)
  {
  }
}
